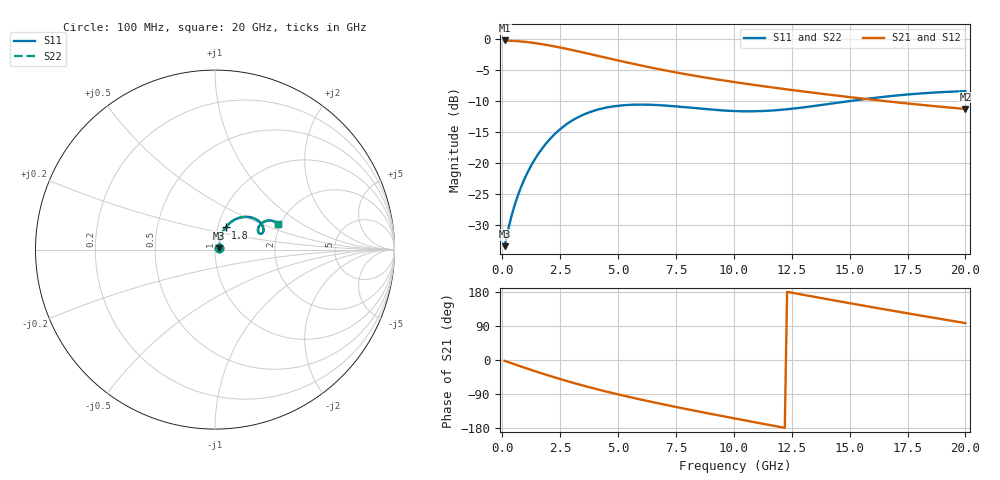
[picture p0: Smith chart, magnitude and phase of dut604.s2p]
! Touchstone file exported from HFSS 2024.1.0
!  File:  C:/UserFiles/LocalFiles/RDL_TSV_Batchsim/temp_RDL_TSV_604_1779797837.aedt
!  Generated:  08:35:35 PM May 26, 2026
!  Design:  RDL_TSV
!  Project:  temp_RDL_TSV_604_1779797837
!  Setup:  Setup1
!  Solution:  Sweep
! Variables:
!  dtsv = 8.46um
!  hbump = 3um
!  htsv = 71.52um
!  ldown = 505.46um
!  lrdl = 631.55um
!  p = 40
!  p1 = 48.58um
!  rhole = 10um
!  subl = 4042.58um
!  t = 450um
!  tdown = 3.85um
!  trdl = 4.77um
!  viad = 10um
!  wdown = 15.8um
!  wrdl = 18.94um
!  xbump = 18um
# GHz S MA R 50.000000
! Terminal data exported
! Port[1] = TM1_1_T1
! Port[2] = TM1_4_T1
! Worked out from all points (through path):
!   200 points, 100 MHz to 20 GHz, reference 50 ohm
!   highest |S21| = -0.17 dB at 100 MHz (marker M1); lowest = -11.3 dB at 20 GHz (marker M2)
!   group delay of S21, straight-line fit = 34.7 ps
!   lowest |S11| = -33.5 dB at 100 MHz (marker M3), VSWR 1.04, Z = 52 + j0.826 ohm
!   |S11| at or under -10 dB: start of sweep to 14.98 GHz
!   |S22| runs from -33.5 to -8.4 dB; largest |S21 - S12| = 9.7e-15
!   S11 on the Smith chart (normalised r, x): 100 MHz: 1.04, +0.02; 1.8 GHz: 1.09, +0.27; 20 GHz: 1.95, +0.65
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0.1  0.02114 22.1  0.9803 -2.2  0.9803 -2.2  0.02114 22.1
! Gamma 0 0 0 0
! Port Impedance 50 0 50 0
0.4  0.03716 51.8  0.9747 -8.6  0.9747 -8.6  0.03717 51.8
0.6  0.04965 59.2  0.9693 -12.8  0.9693 -12.8  0.04966 59.2
0.8  0.06297 63.3  0.9625 -17.0  0.9625 -17.0  0.06297 63.2
1.3  0.09896 66.3  0.9394 -27.2  0.9394 -27.2  0.09889 66.2
1.8  0.1367 64.5  0.9093 -37.1  0.9093 -37.1  0.1365 64.4
2.2  0.1664 61.5  0.8817 -44.8  0.8817 -44.8  0.1661 61.3
2.6  0.1942 57.6  0.852 -52.1  0.852 -52.1  0.1937 57.4
3  0.2192 53.4  0.8214 -59.2  0.8214 -59.2  0.2186 53.2
3.5  0.2454 48.0  0.7828 -67.6  0.7828 -67.6  0.2447 47.9
4.2  0.2723 40.9  0.7303 -78.8  0.7303 -78.8  0.2713 40.7
5.1  0.2912 32.9  0.6683 -92.2  0.6683 -92.2  0.2901 32.8
5.9  0.2964 27.3  0.6196 -103.3  0.6196 -103.3  0.295 27.1
6.8  0.2931 22.6  0.5721 -115.1  0.5721 -115.1  0.2916 22.5
8.4  0.2764 19.0  0.504 -134.9  0.504 -134.9  0.2748 18.9
10.1  0.2624 20.8  0.4487 -155.0  0.4487 -155.0  0.2608 20.8
11.7  0.2658 25.3  0.4071 -173.4  0.4071 -173.4  0.2643 25.3
13.4  0.2876 28.9  0.3704 167.5  0.3704 167.5  0.2862 28.9
15  0.3166 29.6  0.3408 149.9  0.3408 149.9  0.3153 29.6
16.7  0.3463 28.0  0.3138 131.6  0.3138 131.6  0.3449 28.0
18.3  0.3674 25.2  0.2922 114.9  0.2922 114.9  0.366 25.2
20  0.3806 21.9  0.2732 97.4  0.2732 97.4  0.379 21.8
